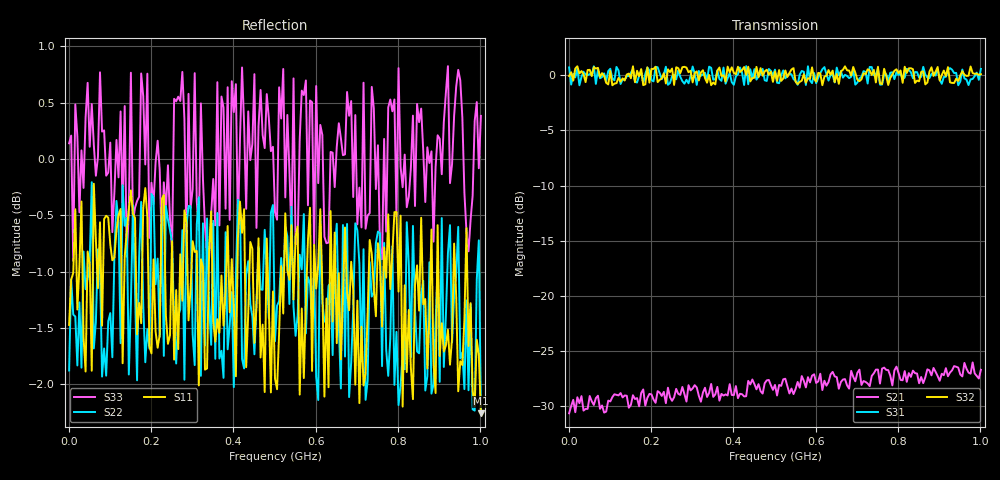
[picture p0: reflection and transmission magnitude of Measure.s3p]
#  HZ  S  MA  R  50.00
! Rohde & Schwarz Vector Network Analyzer
! Rohde-Schwarz,ZNB8-4Port,1311601044100104,1.93.2.45
! Created: UTC 3/17/2014, 1:42:13 AM
! freq[Hz]  mag:S11  ang:S11  mag:S12  ang:S12  mag:S13  ang:S13
!  mag:S21  ang:S21  mag:S22  ang:S22  mag:S23  ang:S23
!  mag:S31  ang:S31  mag:S32  ang:S32  mag:S33  ang:S33
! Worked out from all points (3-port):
!   201 points, 1 MHz to 1.001 GHz, reference 50 ohm
!   strongest paths, dB at 1 MHz, 251 MHz, 501 MHz, 751 MHz, 1.001 GHz:
!     S32: -0.1, 0.6, 0.3, 0.8, 0.1
!     S31: 0.7, -0.1, 0.5, 0.6, 0.6
!     S21: -30.6, -29.5, -28.1, -26.7, -26.7
!   lowest |S11| = -2.3 dB at 1.001 GHz (marker M1), VSWR 7.74, Z = 387 + j0 ohm
!   |S11| at or under -10 dB: nowhere
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1000000  0.8441 0.0  0.02874 0.0  1.007 0.0
         0.0294 0.0  0.8057 0.0  1.086 0.0
         1.085 0.0  0.9921 0.0  1.016 0.0
2.6e7  0.8965 0.0  0.03315 0.0  0.9419 0.0
       0.03268 0.0  0.8639 0.0  1.022 0.0
       0.9004 0.0  1.018 0.0  0.9471 0.0
6.1e7  0.9752 0.0  0.0299 0.0  1.029 0.0
       0.03209 0.0  0.8241 0.0  0.9426 0.0
       1.098 0.0  1.087 0.0  1.015 0.0
6.6e7  0.9207 0.0  0.03383 0.0  0.9188 0.0
       0.03445 0.0  0.8469 0.0  1.003 0.0
       0.913 0.0  1.072 0.0  0.9832 0.0
2.21e8  0.8357 0.0  0.03529 0.0  1.1 0.0
        0.03646 0.0  0.8339 0.0  1.022 0.0
        1.02 0.0  0.9527 0.0  0.989 0.0
2.31e8  0.964 0.0  0.03202 0.0  0.9186 0.0
        0.03678 0.0  0.8179 0.0  0.9563 0.0
        1.005 0.0  1.021 0.0  0.9766 0.0
2.46e8  0.8352 0.0  0.03524 0.0  1.097 0.0
        0.03474 0.0  0.93 0.0  0.9297 0.0
        0.9219 0.0  1.034 0.0  0.9404 0.0
5.01e8  0.7991 0.0  0.03752 0.0  0.9398 0.0
        0.03953 0.0  0.8302 0.0  1.024 0.0
        1.06 0.0  1.04 0.0  0.9472 0.0
9.46e8  0.7888 0.0  0.04461 0.0  1.096 0.0
        0.04737 0.0  0.9331 0.0  1.01 0.0
        0.9006 0.0  0.9416 0.0  1.096 0.0
1.001e9  0.7713 0.0  0.05035 0.0  0.9087 0.0
         0.04628 0.0  0.7738 0.0  1.028 0.0
         1.068 0.0  1.011 0.0  1.045 0.0
